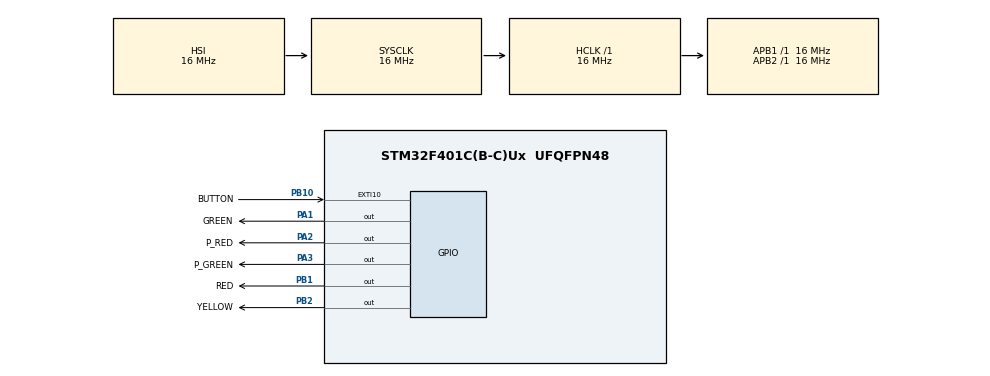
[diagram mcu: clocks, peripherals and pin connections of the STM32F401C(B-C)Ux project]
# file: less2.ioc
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Mcu.Family=STM32F4
Mcu.Name=STM32F401C(B-C)Ux
Mcu.Package=UFQFPN48
NVIC.EXTI15_10_IRQn=true\:0\:0\:true\:false\:true\:true\:true\:true
NVIC.PriorityGroup=NVIC_PRIORITYGROUP_4
PA1.GPIO_Label=GREEN
PA1.PinState=GPIO_PIN_SET
PA1.Signal=GPIO_Output
PA2.GPIO_Label=P_RED
PA2.PinState=GPIO_PIN_SET
PA2.Signal=GPIO_Output
PA3.GPIO_Label=P_GREEN
PA3.PinState=GPIO_PIN_RESET
PA3.Signal=GPIO_Output
PB1.GPIO_Label=RED
PB1.PinState=GPIO_PIN_RESET
PB1.Signal=GPIO_Output
PB10.GPIO_Label=BUTTON
PB10.GPIO_ModeDefaultEXTI=GPIO_MODE_IT_RISING
PB10.Signal=GPXTI10
PB2.GPIO_Label=YELLOW
PB2.PinState=GPIO_PIN_RESET
PB2.Signal=GPIO_Output
ProjectManager.HeapSize=0x200
ProjectManager.StackSize=0x400
ProjectManager.TargetToolchain=STM32CubeIDE
RCC.AHBFreq_Value=16000000
RCC.APB1Freq_Value=16000000
RCC.APB2Freq_Value=16000000
RCC.CortexFreq_Value=16000000
RCC.HSE_VALUE=25000000
RCC.HSI_VALUE=16000000
RCC.LSE_VALUE=32768
RCC.SYSCLKFreq_VALUE=16000000
RCC.VCOOutputFreq_Value=192000000
board=custom

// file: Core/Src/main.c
/* USER CODE BEGIN Header */
/**
  ******************************************************************************
  * @file           : main.c
  * @brief          : Main program body
  ******************************************************************************
  * @attention
  *
  * Copyright (c) 2022 STMicroelectronics.
  * All rights reserved.
  *
  * This software is licensed under terms that can be found in the LICENSE file
  * in the root directory of this software component.
  * If no LICENSE file comes with this software, it is provided AS-IS.
  *
  ******************************************************************************
  */
/* USER CODE END Header */
#include "main.h"

/* USER CODE BEGIN PV */
bool pressed = false;
/* USER CODE END PV */

void SystemClock_Config(void);
static void MX_GPIO_Init(void);

int main(void)
{

  /* MCU Configuration--------------------------------------------------------*/

  /* Reset of all peripherals, Initializes the Flash interface and the Systick. */
  HAL_Init();

  /* Configure the system clock */
  SystemClock_Config();

  /* Initialize all configured peripherals */
  MX_GPIO_Init();

  /* Infinite loop */
  /* USER CODE BEGIN WHILE */
  while (1)
  {
	  if(pressed == true)
	  {
		  HAL_GPIO_TogglePin(GREEN_GPIO_Port, GREEN_Pin);
		  HAL_GPIO_TogglePin(YELLOW_GPIO_Port, YELLOW_Pin);
		  HAL_Delay(1000);
		  HAL_GPIO_TogglePin(YELLOW_GPIO_Port, YELLOW_Pin);
		  HAL_GPIO_TogglePin(RED_GPIO_Port, RED_Pin);
		  HAL_Delay(500);

		  HAL_GPIO_TogglePin(P_RED_GPIO_Port, P_RED_Pin);
		  HAL_GPIO_TogglePin(P_GREEN_GPIO_Port, P_GREEN_Pin);
		  HAL_Delay(4000);
		  HAL_GPIO_TogglePin(P_GREEN_GPIO_Port, P_GREEN_Pin);
		  HAL_GPIO_TogglePin(P_RED_GPIO_Port, P_RED_Pin);

		  HAL_GPIO_TogglePin(YELLOW_GPIO_Port, YELLOW_Pin);
		  HAL_Delay(1000);
		  HAL_GPIO_TogglePin(YELLOW_GPIO_Port, YELLOW_Pin);

		  HAL_GPIO_WritePin(GREEN_GPIO_Port, GREEN_Pin, GPIO_PIN_SET);
		  HAL_GPIO_WritePin(RED_GPIO_Port, RED_Pin, GPIO_PIN_RESET);

		  pressed = false;
	  }
    /* USER CODE END WHILE */

  }
}

void SystemClock_Config(void)
{
  RCC_OscInitTypeDef RCC_OscInitStruct = {0};
  RCC_ClkInitTypeDef RCC_ClkInitStruct = {0};

  /** Configure the main internal regulator output voltage
  */
  __HAL_RCC_PWR_CLK_ENABLE();
  __HAL_PWR_VOLTAGESCALING_CONFIG(PWR_REGULATOR_VOLTAGE_SCALE2);

  /** Initializes the RCC Oscillators according to the specified parameters
  * in the RCC_OscInitTypeDef structure.
  */
  RCC_OscInitStruct.OscillatorType = RCC_OSCILLATORTYPE_HSI;
  RCC_OscInitStruct.HSIState = RCC_HSI_ON;
  RCC_OscInitStruct.HSICalibrationValue = RCC_HSICALIBRATION_DEFAULT;
  RCC_OscInitStruct.PLL.PLLState = RCC_PLL_NONE;
  if (HAL_RCC_OscConfig(&RCC_OscInitStruct) != HAL_OK)
  {
    Error_Handler();
  }

  /** Initializes the CPU, AHB and APB buses clocks
  */
  RCC_ClkInitStruct.ClockType = RCC_CLOCKTYPE_HCLK|RCC_CLOCKTYPE_SYSCLK
                              |RCC_CLOCKTYPE_PCLK1|RCC_CLOCKTYPE_PCLK2;
  RCC_ClkInitStruct.SYSCLKSource = RCC_SYSCLKSOURCE_HSI;
  RCC_ClkInitStruct.AHBCLKDivider = RCC_SYSCLK_DIV1;
  RCC_ClkInitStruct.APB1CLKDivider = RCC_HCLK_DIV1;
  RCC_ClkInitStruct.APB2CLKDivider = RCC_HCLK_DIV1;

  if (HAL_RCC_ClockConfig(&RCC_ClkInitStruct, FLASH_LATENCY_0) != HAL_OK)
  {
    Error_Handler();
  }
}

static void MX_GPIO_Init(void)
{
  GPIO_InitTypeDef GPIO_InitStruct = {0};

  /* GPIO Ports Clock Enable */
  __HAL_RCC_GPIOA_CLK_ENABLE();
  __HAL_RCC_GPIOB_CLK_ENABLE();

  /*Configure GPIO pin Output Level */
  HAL_GPIO_WritePin(GPIOA, GREEN_Pin|P_RED_Pin, GPIO_PIN_SET);

  /*Configure GPIO pin Output Level */
  HAL_GPIO_WritePin(P_GREEN_GPIO_Port, P_GREEN_Pin, GPIO_PIN_RESET);

  /*Configure GPIO pin Output Level */
  HAL_GPIO_WritePin(GPIOB, RED_Pin|YELLOW_Pin, GPIO_PIN_RESET);

  /*Configure GPIO pins : GREEN_Pin P_RED_Pin P_GREEN_Pin */
  GPIO_InitStruct.Pin = GREEN_Pin|P_RED_Pin|P_GREEN_Pin;
  GPIO_InitStruct.Mode = GPIO_MODE_OUTPUT_PP;
  GPIO_InitStruct.Pull = GPIO_NOPULL;
  GPIO_InitStruct.Speed = GPIO_SPEED_FREQ_LOW;
  HAL_GPIO_Init(GPIOA, &GPIO_InitStruct);

  /*Configure GPIO pins : RED_Pin YELLOW_Pin */
  GPIO_InitStruct.Pin = RED_Pin|YELLOW_Pin;
  GPIO_InitStruct.Mode = GPIO_MODE_OUTPUT_PP;
  GPIO_InitStruct.Pull = GPIO_NOPULL;
  GPIO_InitStruct.Speed = GPIO_SPEED_FREQ_LOW;
  HAL_GPIO_Init(GPIOB, &GPIO_InitStruct);

  /*Configure GPIO pin : BUTTON_Pin */
  GPIO_InitStruct.Pin = BUTTON_Pin;
  GPIO_InitStruct.Mode = GPIO_MODE_IT_RISING;
  GPIO_InitStruct.Pull = GPIO_NOPULL;
  HAL_GPIO_Init(BUTTON_GPIO_Port, &GPIO_InitStruct);

  /* EXTI interrupt init*/
  HAL_NVIC_SetPriority(EXTI15_10_IRQn, 0, 0);
  HAL_NVIC_EnableIRQ(EXTI15_10_IRQn);

}

/* USER CODE BEGIN 4 */

void HAL_GPIO_EXTI_Callback(uint16_t GPIO_Pin)
{
	if(pressed != true )pressed = true;
}

/* USER CODE END 4 */

void Error_Handler(void)
{
  __disable_irq();
  while (1)
  {
  }
}
